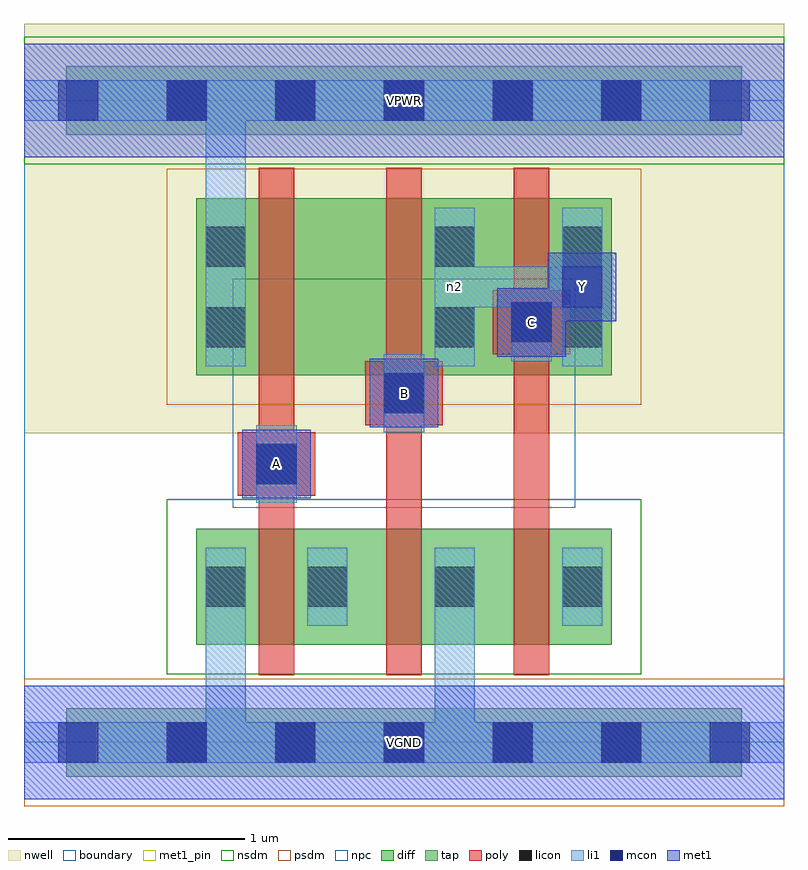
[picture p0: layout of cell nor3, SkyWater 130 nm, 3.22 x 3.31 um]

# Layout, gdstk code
import gdstk
lib = gdstk.Library(unit=1e-6, precision=1e-09)
def R(c, l, rs):  # rectangles x0, y0, x1, y1
    for r in rs: c.add(gdstk.rectangle(r[:2], r[2:], *l))
def A(c, l, x, y, w, h, nx, ny, dx, dy):  # array of equal rectangles
    R(c, l, [(x+i*dx, y+j*dy, x+i*dx+w, y+j*dy+h) for i in range(nx) for j in range(ny)])
nwell = (64, 20)
diff = (65, 20)
tap = (65, 44)
poly = (66, 20)
licon = (66, 44)
li1 = (67, 20)
mcon = (67, 44)
met1_pin = (68, 16)
met1 = (68, 20)
nsdm = (93, 44)
psdm = (94, 20)
npc = (95, 20)
boundary = (235, 4)

nor3 = lib.new_cell('nor3')
R(nor3, nwell, [(0,1.31,3.22,3.045)])
R(nor3, diff, [(0.73,0.415,2.49,0.905), (0.73,1.555,2.49,2.305)])
R(nor3, tap, [(0.18,-0.145,3.04,0.145), (0.18,2.575,3.04,2.865)])
A(nor3, poly, 0.995, 0.285, 0.15, 2.15, 3, 1, 0.54, 0)
R(nor3, poly, [(0.905,1.045,1.235,1.315), (1.445,1.345,1.775,1.615), (1.985,1.645,2.315,1.915)])
A(nor3, licon, 0.605, -0.085, 0.17, 0.17, 5, 2, 0.46, 2.72)
A(nor3, licon, 1.2, 0.575, 0.17, 0.17, 3, 1, 0.54, 0)
R(nor3, licon, [(0.77,0.575,0.94,0.745), (0.985,1.095,1.155,1.265), (1.525,1.395,1.695,1.565), (0.77,1.675,0.94,1.845), (1.74,1.675,1.91,1.845), (2.28,1.675,2.45,1.845), (2.065,1.695,2.235,1.865), (0.77,2.015,0.94,2.185), (1.74,2.015,1.91,2.185), (2.28,2.015,2.45,2.185)])
A(nor3, li1, 1.2, 0.495, 0.17, 0.33, 3, 1, 0.54, 0)
R(nor3, li1, [(0,-0.085,3.22,0.085), (0.77,-0.085,0.94,0.825), (1.74,-0.085,1.91,0.825), (0.77,0.495,0.94,0.825), (0.985,1.015,1.155,1.345), (1.525,1.315,1.695,1.645), (0.77,1.595,0.94,2.265), (0.77,1.595,0.94,2.805), (1.74,1.595,1.91,2.265), (2.28,1.595,2.45,2.265), (2.065,1.615,2.235,1.945), (1.74,1.845,2.45,2.015), (0,2.635,3.22,2.805)])
A(nor3, mcon, 0.145, -0.085, 0.17, 0.17, 7, 2, 0.46, 2.72)
R(nor3, mcon, [(0.985,1.095,1.155,1.265), (1.525,1.395,1.695,1.565), (2.065,1.695,2.235,1.865), (2.28,1.845,2.45,2.015)])
R(nor3, met1_pin, [(0,-0.24,3.22,0.24), (0.925,1.035,1.215,1.325), (1.465,1.335,1.755,1.625), (2.005,1.635,2.295,1.925), (2.22,1.785,2.51,2.075), (0,2.48,3.22,2.96)])
R(nor3, met1, [(0,-0.24,3.22,0.24), (0.925,1.035,1.215,1.325), (1.465,1.335,1.755,1.625), (2.005,1.635,2.295,1.925), (2.22,1.785,2.51,2.075), (0,2.48,3.22,2.96)])
R(nor3, nsdm, [(0.605,0.29,2.615,1.03), (0,2.45,3.22,2.99)])
R(nor3, psdm, [(0,-0.27,3.22,0.27), (0.605,1.43,2.615,2.43)])
R(nor3, npc, [(0.885,0.995,2.335,1.965)])
R(nor3, boundary, [(0,0,3.22,2.72)])
nor3.add(gdstk.Label('n2', (1.825,1.93), layer=67, texttype=5))
nor3.add(gdstk.Label('A', (1.07,1.18), layer=68, texttype=5))
nor3.add(gdstk.Label('B', (1.61,1.48), layer=68, texttype=5))
nor3.add(gdstk.Label('C', (2.15,1.78), layer=68, texttype=5))
nor3.add(gdstk.Label('Y', (2.365,1.93), layer=68, texttype=5))
nor3.add(gdstk.Label('VPWR', (1.61,2.72), layer=68, texttype=5))
nor3.add(gdstk.Label('VGND', (1.61,0), layer=68, texttype=5))
nor3.add(gdstk.Label('A', (1.07,1.18), layer=68, texttype=16))
nor3.add(gdstk.Label('B', (1.61,1.48), layer=68, texttype=16))
nor3.add(gdstk.Label('C', (2.15,1.78), layer=68, texttype=16))
nor3.add(gdstk.Label('Y', (2.365,1.93), layer=68, texttype=16))
nor3.add(gdstk.Label('VPWR', (1.61,2.72), layer=68, texttype=16))
nor3.add(gdstk.Label('VGND', (1.61,0), layer=68, texttype=16))

lib.write_gds('nor3.gds')
